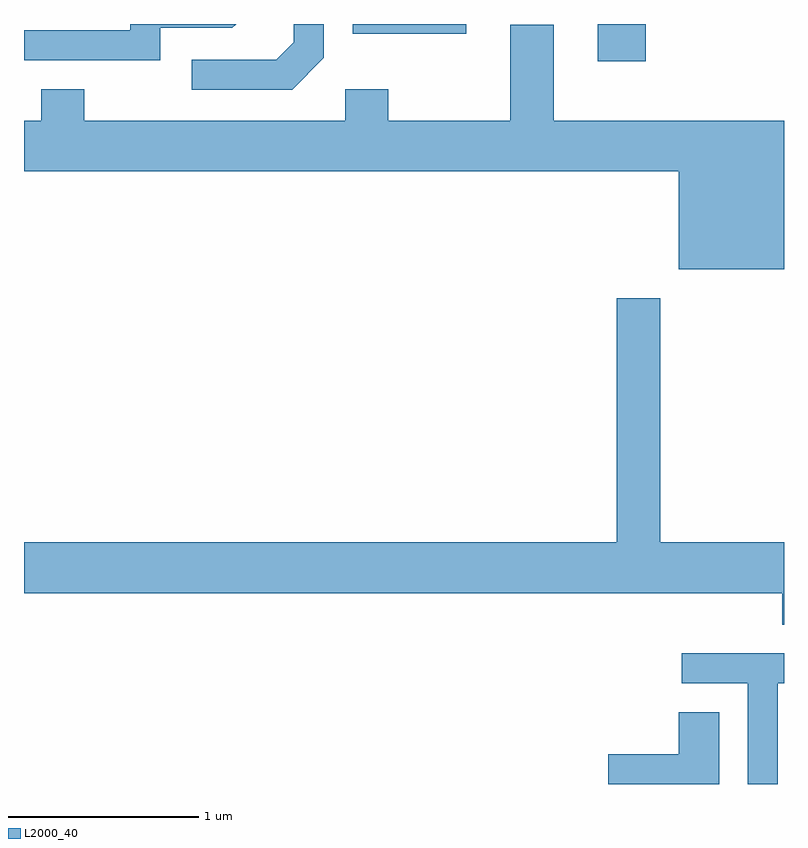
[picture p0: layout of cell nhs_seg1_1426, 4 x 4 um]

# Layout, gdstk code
import gdstk
lib = gdstk.Library(unit=1e-6, precision=1e-09)
def R(c, l, rs):  # rectangles x0, y0, x1, y1
    for r in rs: c.add(gdstk.rectangle(r[:2], r[2:], *l))
def P(c, l, *ps):  # polygons
    for p in ps: c.add(gdstk.Polygon(p, *l))
L2000_40 = (2000, 40)

nhs_seg1_1426 = lib.new_cell('nhs_seg1_1426')
R(nhs_seg1_1426, L2000_40, [(232.631,873.516,232.884,873.712), (231.341,873.661,231.939,873.712)])
P(nhs_seg1_1426, L2000_40, [(230.329,873.691),(230.707,873.691),(230.728,873.712),(230.171,873.712),(230.171,873.679),(229.611,873.679),(229.611,873.521),(230.329,873.521)],
  [(231.189,873.534),(231.189,873.712),(231.031,873.712),(231.031,873.617),(230.939,873.524),(230.493,873.524),(230.493,873.366),(231.022,873.366)],
  [(233.611,873.204),(232.399,873.204),(232.399,873.709),(232.171,873.709),(232.171,873.204),(231.529,873.204),(231.529,873.369),(231.301,873.369),(231.301,873.204),(229.929,873.204),(229.929,873.369),(229.701,873.369),(229.701,873.204),(229.611,873.204),(229.611,872.936),(233.056,872.936),(233.056,872.421),(233.611,872.421)],
  [(233.611,870.984),(232.959,870.984),(232.959,872.269),(232.731,872.269),(232.731,870.984),(229.611,870.984),(229.611,870.716),(233.601,870.716),(233.601,870.551),(233.611,870.551)],
  [(233.579,870.241),(233.611,870.241),(233.611,870.399),(233.073,870.399),(233.073,870.241),(233.421,870.241),(233.421,869.712),(233.579,869.712)],
  [(233.269,870.089),(233.056,870.089),(233.056,869.869),(232.686,869.869),(232.686,869.712),(233.269,869.712)])

lib.write_gds('nhs_seg1_1426.gds')
